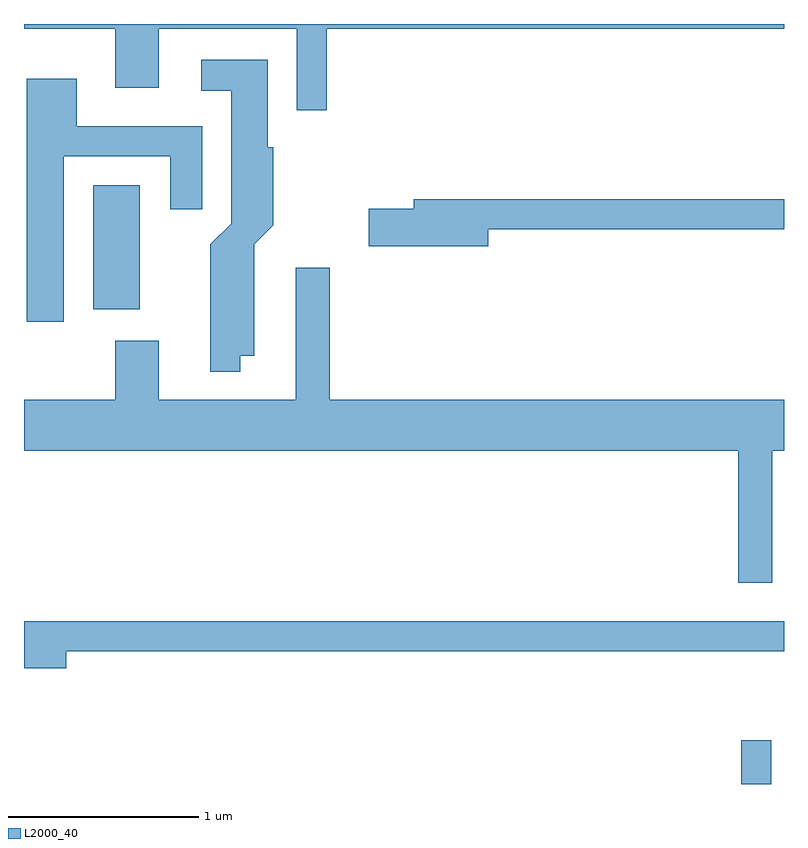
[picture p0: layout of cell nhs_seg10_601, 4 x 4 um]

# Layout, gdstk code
import gdstk
lib = gdstk.Library(unit=1e-6, precision=1e-09)
def R(c, l, rs):  # rectangles x0, y0, x1, y1
    for r in rs: c.add(gdstk.rectangle(r[:2], r[2:], *l))
def P(c, l, *ps):  # polygons
    for p in ps: c.add(gdstk.Polygon(p, *l))
L2000_40 = (2000, 40)

nhs_seg10_601 = lib.new_cell('nhs_seg10_601')
R(nhs_seg10_601, L2000_40, [(205.386,2196.522,205.544,2196.753), (201.976,2199.021,202.219,2199.674)])
P(nhs_seg10_601, L2000_40, [(203.204,2200.496),(205.611,2200.496),(205.611,2200.522),(201.611,2200.522),(201.611,2200.496),(202.091,2200.496),(202.091,2200.186),(202.319,2200.186),(202.319,2200.496),(203.046,2200.496),(203.046,2200.068),(203.204,2200.068)],
  [(202.749,2198.776),(202.824,2198.776),(202.824,2199.364),(202.924,2199.464),(202.924,2199.874),(202.894,2199.874),(202.894,2200.334),(202.543,2200.334),(202.543,2200.171),(202.701,2200.171),(202.701,2199.472),(202.591,2199.362),(202.591,2198.693),(202.749,2198.693)],
  [(201.819,2199.826),(202.381,2199.826),(202.381,2199.548),(202.549,2199.548),(202.549,2199.984),(201.889,2199.984),(201.889,2200.234),(201.626,2200.234),(201.626,2198.956),(201.819,2198.956)],
  [(204.054,2199.441),(205.611,2199.441),(205.611,2199.599),(203.661,2199.599),(203.661,2199.549),(203.426,2199.549),(203.426,2199.351),(204.054,2199.351)],
  [(205.549,2198.276),(205.611,2198.276),(205.611,2198.544),(203.219,2198.544),(203.219,2199.239),(203.041,2199.239),(203.041,2198.544),(202.319,2198.544),(202.319,2198.854),(202.091,2198.854),(202.091,2198.544),(201.611,2198.544),(201.611,2198.276),(205.371,2198.276),(205.371,2197.581),(205.549,2197.581)],
  [(201.834,2197.221),(205.611,2197.221),(205.611,2197.379),(201.611,2197.379),(201.611,2197.131),(201.834,2197.131)])

lib.write_gds('nhs_seg10_601.gds')
